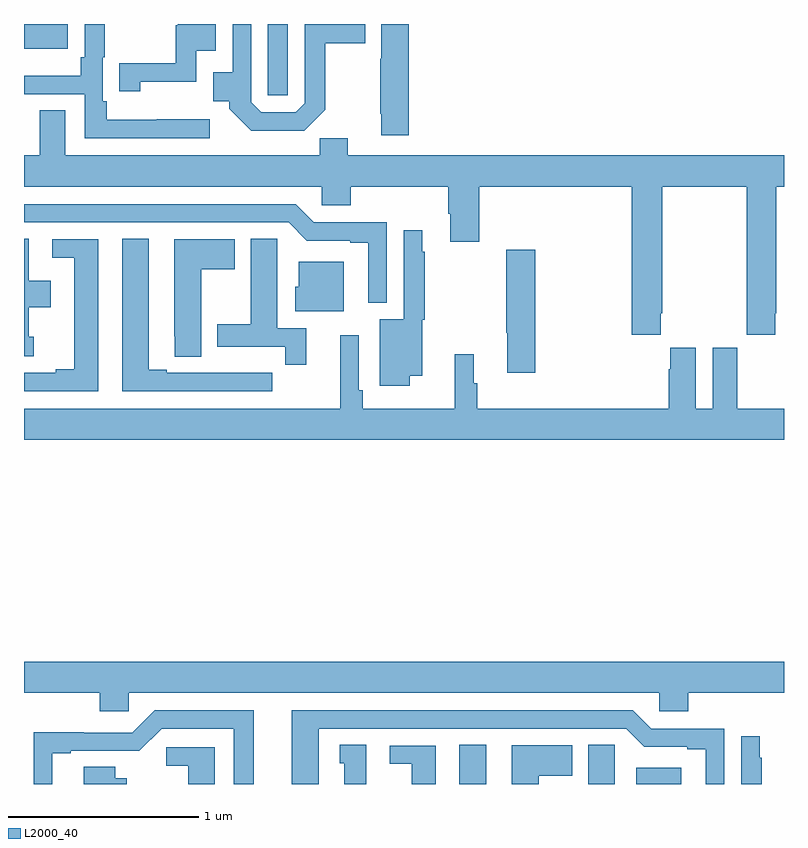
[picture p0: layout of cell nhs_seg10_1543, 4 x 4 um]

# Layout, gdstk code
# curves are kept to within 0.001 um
import gdstk
lib = gdstk.Library(unit=1e-6, precision=1e-09)
def R(c, l, rs):  # rectangles x0, y0, x1, y1
    for r in rs: c.add(gdstk.rectangle(r[:2], r[2:], *l))
def P(c, l, *ps):  # polygons
    for p in ps: c.add(gdstk.Polygon(p, *l))
L2000_40 = (2000, 40)

nhs_seg10_1543 = lib.new_cell('nhs_seg10_1543')
R(nhs_seg10_1543, L2000_40, [(193.292,1302.5,193.432,1302.707), (194.222,1302.5,194.458,1302.586), (192.284,1306.125,192.388,1306.5), (191,1306.37,191.23,1306.5), (193.316,1306.499,193.705,1306.5)])
P(nhs_seg10_1543, L2000_40, [(193.025,1306.5),(192.881,1306.5),(192.881,1306.316),(192.874,1306.316),(192.874,1306.027),(192.881,1306.027),(192.881,1305.915),(193.025,1305.915)],
  [(191.977,1305.998),(191.698,1305.998),(191.698,1305.997),(191.435,1305.997),(191.435,1306.093),(191.415,1306.093),(191.415,1306.324),(191.425,1306.324),(191.425,1306.5),(191.319,1306.5),(191.319,1306.324),(191.299,1306.324),(191.299,1306.228),(191,1306.228),(191,1306.131),(191.319,1306.131),(191.319,1305.9),(191.977,1305.9)],
  [(191.611,1306.196),(191.907,1306.196),(191.907,1306.358),(192.01,1306.358),(192.01,1306.498),(191.907,1306.498),(191.907,1306.5),(191.81,1306.5),(191.81,1306.494),(191.799,1306.494),(191.799,1306.294),(191.5,1306.294),(191.5,1306.146),(191.611,1306.146)],
  [(192.586,1306.048),(192.586,1306.4),(192.796,1306.4),(192.796,1306.5),(192.477,1306.5),(192.477,1306.083),(192.429,1306.035),(192.249,1306.035),(192.195,1306.089),(192.195,1306.5),(192.099,1306.5),(192.099,1306.246),(191.996,1306.246),(191.996,1306.094),(192.079,1306.094),(192.079,1306.055),(192.196,1305.938),(192.476,1305.938)],
  [(194.351,1304.977),(194.358,1304.977),(194.358,1305.644),(194.803,1305.644),(194.803,1304.977),(194.805,1304.977),(194.805,1304.865),(194.955,1304.865),(194.955,1304.977),(194.958,1304.977),(194.958,1305.644),(195,1305.644),(195,1305.808),(192.703,1305.808),(192.703,1305.899),(192.556,1305.899),(192.556,1305.808),(191.218,1305.808),(191.218,1306.045),(191.083,1306.045),(191.083,1305.808),(191,1305.808),(191,1305.644),(192.567,1305.644),(192.567,1305.546),(192.719,1305.546),(192.719,1305.644),(193.232,1305.644),(193.232,1305.502),(193.244,1305.502),(193.244,1305.354),(193.397,1305.354),(193.397,1305.644),(194.198,1305.644),(194.198,1304.865),(194.351,1304.865)],
  [(192.909,1305.456),(192.525,1305.456),(192.429,1305.552),(191,1305.552),(191,1305.456),(192.393,1305.456),(192.489,1305.36),(192.716,1305.36),(192.716,1305.348),(192.812,1305.348),(192.812,1305.032),(192.909,1305.032)],
  [(193.03,1304.648),(193.096,1304.648),(193.096,1304.943),(193.108,1304.943),(193.108,1305.302),(193.096,1305.302),(193.096,1305.415),(192.999,1305.415),(192.999,1304.947),(192.872,1304.947),(192.872,1304.595),(193.03,1304.595)],
  [(191.05,1304.853),(191.026,1304.853),(191.026,1305.008),(191.14,1305.008),(191.14,1305.148),(191.026,1305.148),(191.026,1305.371),(191,1305.371),(191,1304.751),(191.05,1304.751)],
  [(192.485,1304.898),(192.334,1304.898),(192.334,1305.26),(192.333,1305.26),(192.333,1305.371),(192.194,1305.371),(192.194,1304.919),(192.017,1304.919),(192.017,1304.802),(192.376,1304.802),(192.376,1304.706),(192.485,1304.706)],
  [(192.307,1304.664),(192.194,1304.664),(192.194,1304.665),(192.028,1304.665),(192.028,1304.664),(191.752,1304.664),(191.752,1304.679),(191.656,1304.679),(191.656,1305.371),(191.516,1305.371),(191.516,1304.568),(192.307,1304.568)],
  [(191.932,1305.208),(192.109,1305.208),(192.109,1305.367),(191.792,1305.367),(191.792,1304.857),(191.793,1304.857),(191.793,1304.749),(191.932,1304.749)],
  [(191.392,1305.366),(191.148,1305.366),(191.148,1305.27),(191.264,1305.27),(191.264,1304.684),(191.168,1304.684),(191.168,1304.664),(191,1304.664),(191,1304.568),(191.392,1304.568)],
  [(193.691,1305.313),(193.537,1305.313),(193.537,1304.876),(193.544,1304.876),(193.544,1304.664),(193.691,1304.664)],
  [(192.682,1305.25),(192.446,1305.25),(192.446,1305.117),(192.428,1305.117),(192.428,1304.987),(192.682,1304.987)],
  [(195,1304.476),(194.755,1304.476),(194.755,1304.684),(194.754,1304.684),(194.754,1304.797),(194.624,1304.797),(194.624,1304.476),(194.536,1304.476),(194.536,1304.797),(194.402,1304.797),(194.402,1304.684),(194.393,1304.684),(194.393,1304.476),(193.385,1304.476),(193.385,1304.61),(193.366,1304.61),(193.366,1304.761),(193.267,1304.761),(193.267,1304.476),(192.782,1304.476),(192.782,1304.572),(192.762,1304.572),(192.762,1304.863),(192.665,1304.863),(192.665,1304.476),(191,1304.476),(191,1304.312),(195,1304.312)],
  [(191.55,1302.98),(194.343,1302.98),(194.343,1302.882),(194.495,1302.882),(194.495,1302.98),(195,1302.98),(195,1303.144),(191,1303.144),(191,1302.98),(191.399,1302.98),(191.399,1302.882),(191.55,1302.882)],
  [(191.149,1302.663),(191.245,1302.663),(191.245,1302.675),(191.606,1302.674),(191.724,1302.792),(192.104,1302.792),(192.104,1302.5),(192.208,1302.5),(192.208,1302.888),(191.688,1302.888),(191.571,1302.771),(191.315,1302.771),(191.315,1302.773),(191.052,1302.773),(191.052,1302.5),(191.149,1302.5)],
  [(192.55,1302.792),(194.169,1302.792),(194.265,1302.696),(194.492,1302.696),(194.492,1302.684),(194.588,1302.684),(194.588,1302.5),(194.685,1302.5),(194.685,1302.792),(194.301,1302.792),(194.205,1302.888),(192.41,1302.888),(192.41,1302.5),(192.55,1302.5)],
  [(194.884,1302.638),(194.872,1302.638),(194.872,1302.751),(194.775,1302.751),(194.775,1302.5),(194.884,1302.5)],
  [(194.11,1302.596),(194.109,1302.596),(194.109,1302.707),(193.97,1302.707),(193.97,1302.5),(194.11,1302.5)],
  [(192.802,1302.707),(192.662,1302.707),(192.662,1302.609),(192.686,1302.609),(192.686,1302.5),(192.802,1302.5)],
  [(193.708,1302.544),(193.885,1302.544),(193.885,1302.703),(193.568,1302.703),(193.568,1302.5),(193.708,1302.5)],
  [(193.168,1302.702),(192.924,1302.702),(192.924,1302.606),(193.04,1302.606),(193.04,1302.5),(193.168,1302.5)],
  [(192.004,1302.693),(191.748,1302.693),(191.748,1302.596),(191.864,1302.596),(191.864,1302.5),(192.004,1302.5)],
  [(191.542,1302.529),(191.479,1302.529),(191.479,1302.59),(191.315,1302.59),(191.315,1302.5),(191.542,1302.5)])

lib.write_gds('nhs_seg10_1543.gds')
